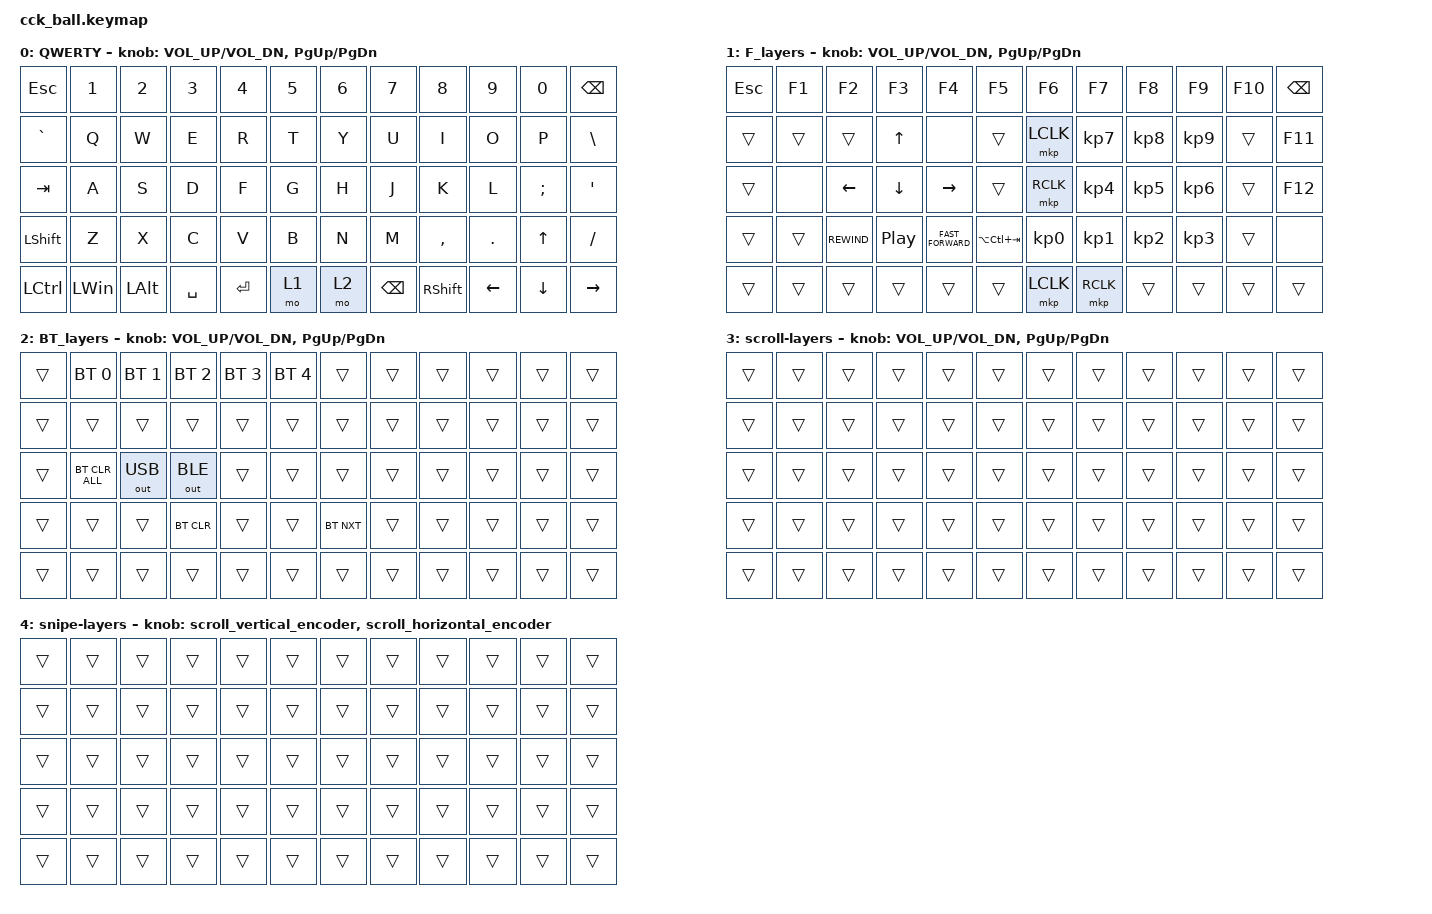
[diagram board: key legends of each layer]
#define ZMK_POINTING_DEFAULT_MOVE_VAL 1000 // 600
#define ZMK_POINTING_DEFAULT_SCRL_VAL 12   // 10

#include <input/processors.dtsi>
#include <zephyr/dt-bindings/input/input-event-codes.h>
#include <behaviors.dtsi>
#include <dt-bindings/zmk/bt.h>
#include <dt-bindings/zmk/keys.h>
#include <dt-bindings/zmk/outputs.h>
#include <dt-bindings/zmk/pointing.h>

&mmv_input_listener { input-processors = <&zip_xy_scaler 2 1>; };

&msc_input_listener { input-processors = <&zip_scroll_scaler 2 1>; };

&msc {
    acceleration-exponent = <0>;      // 0
    time-to-max-speed-ms = <300>;       // 300
    delay-ms = <0>;                   // 0
};

&mmv {
    time-to-max-speed-ms = <500>;
    acceleration-exponent = <1>;
    trigger-period-ms = <16>;
};

&soft_off { hold-time-ms = <2000>; };

/ {
    // 上下滚动编码器行为

    scroll_vertical_encoder: scroll_vertical_encoder {
        compatible = "zmk,behavior-sensor-rotate";
        #sensor-binding-cells = <0>;
        bindings = <&msc SCRL_DOWN>, <&msc SCRL_UP>;

        tap-ms = <100>;
    };

    // 左右滚动编码器行为

    scroll_horizontal_encoder: scroll_horizontal_encoder {
        compatible = "zmk,behavior-sensor-rotate";
        #sensor-binding-cells = <0>;
        bindings = <&msc SCRL_LEFT>, <&msc SCRL_RIGHT>;

        tap-ms = <100>;
    };

    behaviors {
    };

    keymap {
        compatible = "zmk,keymap";

        QWERTY {
            bindings = <
&kp ESC           &kp N1        &kp N2        &kp N3     &kp N4     &kp N5  &kp N6  &kp N7         &kp N8           &kp N9          &kp N0          &kp BACKSPACE
&kp GRAVE         &kp Q         &kp W         &kp E      &kp R      &kp T   &kp Y   &kp U          &kp I            &kp O           &kp P           &kp BSLH
&kp TAB           &kp A         &kp S         &kp D      &kp F      &kp G   &kp H   &kp J          &kp K            &kp L           &kp SEMI        &kp SQT
&kp LEFT_SHIFT    &kp Z         &kp X         &kp C      &kp V      &kp B   &kp N   &kp M          &kp COMMA        &kp DOT         &kp UP_ARROW    &kp FSLH
&kp LEFT_CONTROL  &kp LEFT_WIN  &kp LEFT_ALT  &kp SPACE  &kp ENTER  &mo 1   &mo 2   &kp BACKSPACE  &kp RIGHT_SHIFT  &kp LEFT_ARROW  &kp DOWN_ARROW  &kp RIGHT_ARROW
            >;

            sensor-bindings = <&inc_dec_kp C_VOL_UP C_VOL_DN &inc_dec_kp PG_UP PG_DN>;
        };

        F_layers {
            bindings = <
&kp ESCAPE  &kp F1  &kp F2          &kp F3            &kp F4              &kp F5           &kp F6           &kp F7           &kp F8           &kp F9           &kp F10  &kp BACKSPACE
&trans      &trans  &trans          &kp UP_ARROW      &none               &trans           &mkp LCLK        &kp KP_NUMBER_7  &kp KP_NUMBER_8  &kp KP_NUMBER_9  &trans   &kp F11
&trans      &none   &kp LEFT_ARROW  &kp DOWN_ARROW    &kp RIGHT_ARROW     &trans           &mkp RCLK        &kp KP_NUMBER_4  &kp KP_NUMBER_5  &kp KP_NUMBER_6  &trans   &kp F12
&trans      &trans  &kp C_REWIND    &kp C_PLAY_PAUSE  &kp C_FAST_FORWARD  &kp LA(LC(TAB))  &kp KP_NUMBER_0  &kp KP_NUMBER_1  &kp KP_NUMBER_2  &kp KP_NUMBER_3  &trans   &none
&trans      &trans  &trans          &trans            &trans              &trans           &mkp LCLK        &mkp RCLK        &trans           &trans           &trans   &trans
            >;

            sensor-bindings = <&inc_dec_kp C_VOL_UP C_VOL_DN &inc_dec_kp PG_UP PG_DN>;
        };

        BT_layers {
            bindings = <
&trans  &bt BT_SEL 0    &bt BT_SEL 1  &bt BT_SEL 2  &bt BT_SEL 3  &bt BT_SEL 4  &trans      &trans  &trans  &trans  &trans  &trans
&trans  &trans          &trans        &trans        &trans        &trans        &trans      &trans  &trans  &trans  &trans  &trans
&trans  &bt BT_CLR_ALL  &out OUT_USB  &out OUT_BLE  &trans        &trans        &trans      &trans  &trans  &trans  &trans  &trans
&trans  &trans          &trans        &bt BT_CLR    &trans        &trans        &bt BT_NXT  &trans  &trans  &trans  &trans  &trans
&trans  &trans          &trans        &trans        &trans        &trans        &trans      &trans  &trans  &trans  &trans  &trans
            >;

            sensor-bindings = <&inc_dec_kp C_VOL_UP C_VOL_DN &inc_dec_kp PG_UP PG_DN>;
        };

        scroll-layers {
            bindings = <
&trans  &trans  &trans  &trans  &trans  &trans  &trans  &trans  &trans  &trans  &trans  &trans
&trans  &trans  &trans  &trans  &trans  &trans  &trans  &trans  &trans  &trans  &trans  &trans
&trans  &trans  &trans  &trans  &trans  &trans  &trans  &trans  &trans  &trans  &trans  &trans
&trans  &trans  &trans  &trans  &trans  &trans  &trans  &trans  &trans  &trans  &trans  &trans
&trans  &trans  &trans  &trans  &trans  &trans  &trans  &trans  &trans  &trans  &trans  &trans
            >;

            sensor-bindings = <&inc_dec_kp C_VOL_UP C_VOL_DN &inc_dec_kp PG_UP PG_DN>;
        };

        snipe-layers {
            bindings = <
&trans  &trans  &trans  &trans  &trans  &trans  &trans  &trans  &trans  &trans  &trans  &trans
&trans  &trans  &trans  &trans  &trans  &trans  &trans  &trans  &trans  &trans  &trans  &trans
&trans  &trans  &trans  &trans  &trans  &trans  &trans  &trans  &trans  &trans  &trans  &trans
&trans  &trans  &trans  &trans  &trans  &trans  &trans  &trans  &trans  &trans  &trans  &trans
&trans  &trans  &trans  &trans  &trans  &trans  &trans  &trans  &trans  &trans  &trans  &trans
            >;

            sensor-bindings =
                <&scroll_vertical_encoder>,
                // 编码器1：上下滚动,,,
                <&scroll_horizontal_encoder>;

            // 编码器2：左右滚动
        };
    };
};
